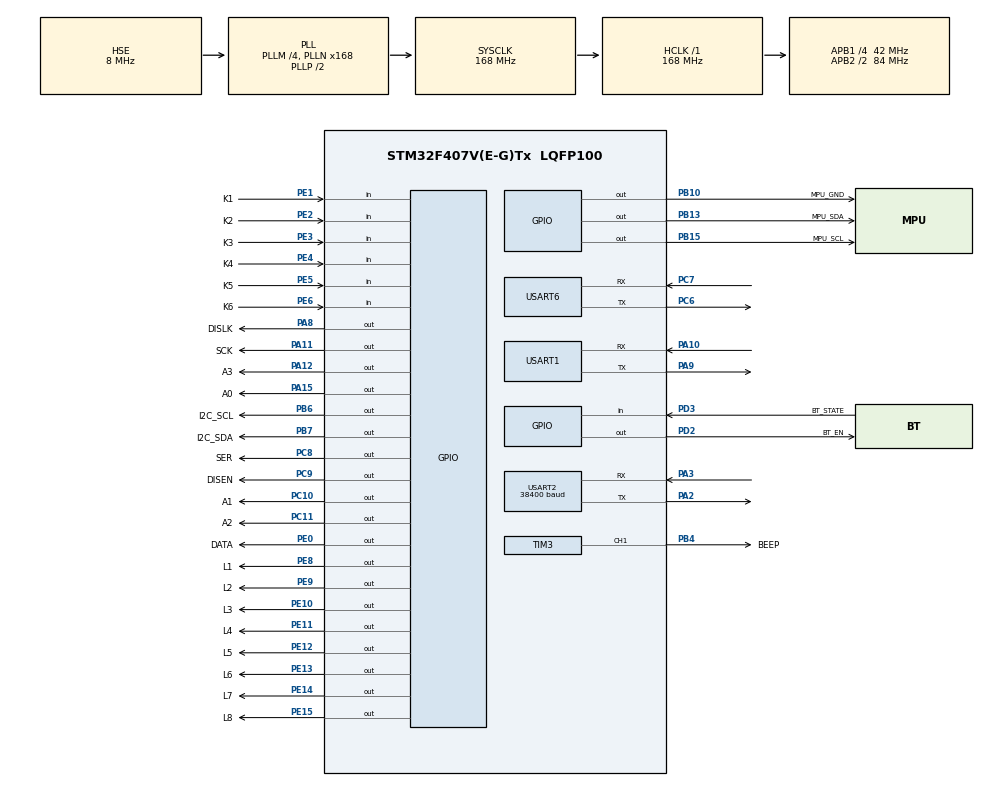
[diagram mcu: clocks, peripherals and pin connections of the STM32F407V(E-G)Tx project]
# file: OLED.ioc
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PE12.GPIO_ModeDefaultOutputPP=GPIO_MODE_OUTPUT_PP
PH0-OSC_IN.Signal=RCC_OSC_IN
Dma.USART1_RX.2.Instance=DMA2_Stream2
PE11.PinState=GPIO_PIN_SET
PB6.GPIO_Label=I2C_SCL
PB13.Signal=GPIO_Output
Dma.USART6_RX.1.Direction=DMA_PERIPH_TO_MEMORY
PE6.GPIO_Label=K6
RCC.SYSCLKSource=RCC_SYSCLKSOURCE_PLLCLK
Dma.USART2_RX.0.PeriphDataAlignment=DMA_PDATAALIGN_BYTE
RCC.APB2TimFreq_Value=168000000
PB6.Signal=GPIO_Output
PC7.Signal=USART6_RX
PB15.GPIO_ModeDefaultOutputPP=GPIO_MODE_OUTPUT_OD
Dma.USART6_RX.1.MemDataAlignment=DMA_MDATAALIGN_BYTE
PE5.Signal=GPIO_Input
PE1.Signal=GPIO_Input
PE9.Signal=GPIO_Output
PE4.GPIO_Label=K4
PE2.Signal=GPIO_Input
PA8.Signal=GPIO_Output
PE10.Signal=GPIO_Output
Mcu.Package=LQFP100
PE2.GPIO_Mode=GPIO_MODE_INPUT
NVIC.TimeBase=TIM7_IRQn
PB6.GPIO_ModeDefaultOutputPP=GPIO_MODE_OUTPUT_OD
NVIC.TimeBaseIP=TIM7
PA10.Signal=USART1_RX
PE12.GPIO_Label=L5
RCC.APB2CLKDivider=RCC_HCLK_DIV2
NVIC.DMA2_Stream2_IRQn=true\:5\:0\:false\:false\:true\:true\:false\:true
RCC.APB1TimFreq_Value=84000000
Dma.USART6_RX.1.FIFOMode=DMA_FIFOMODE_DISABLE
NVIC.USART1_IRQn=true\:5\:0\:false\:false\:true\:true\:true\:true
PE10.GPIO_Label=L3
PE6.GPIO_PuPd=GPIO_PULLDOWN
FREERTOS.Tasks01=MainTask,24,512,StartMainTask,Default,NULL,Dynamic,NULL,NULL;KeyTask,24,512,StartKeyTask,Default,NULL,Dynamic,NULL,NULL;UartTask,24,1024,StartUartTask,Default,NULL,Dynamic,NULL,NULL;GUITask,24,1024,StartGUITask,Default,NULL,Dynamic,NULL,NULL;GetDataTask,24,256,StartGetDataTask,Default,NULL,Dynamic,NULL,NULL
PD3.Signal=GPIO_Input
PC6.Signal=USART6_TX
Dma.USART2_RX.0.Direction=DMA_PERIPH_TO_MEMORY
PA11.GPIO_Label=SCK
PE1.GPIO_PuPd=GPIO_PULLUP
NVIC.DMA2_Stream1_IRQn=true\:5\:0\:false\:false\:true\:true\:false\:true
Dma.USART6_RX.1.PeriphInc=DMA_PINC_DISABLE
RCC.APB1CLKDivider=RCC_HCLK_DIV4
USART2.BaudRate=38400
PA3.Mode=Asynchronous
PA8.GPIO_Label=DISLK
TIM3.Pulse-PWM\ Generation1\ CH1=500 
Dma.USART1_RX.2.Mode=DMA_NORMAL
PC6.Mode=Asynchronous
PE8.GPIO_Label=L1
PA9.Signal=USART1_TX
PE9.GPIO_Label=L2
PB10.Signal=GPIO_Output
PE2.GPIO_PuPd=GPIO_PULLUP
Dma.USART6_RX.1.Priority=DMA_PRIORITY_LOW
PE1.GPIO_Label=K1
Dma.USART1_RX.2.Priority=DMA_PRIORITY_LOW
PE14.Signal=GPIO_Output
Dma.USART1_RX.2.Direction=DMA_PERIPH_TO_MEMORY
PB13.PinState=GPIO_PIN_RESET
PE15.Signal=GPIO_Output
PB4.GPIO_Label=BEEP
PB15.GPIO_Label=MPU_SCL
PE8.Signal=GPIO_Output
PE3.GPIO_PuPd=GPIO_PULLUP
PA13.Mode=Serial_Wire
Dma.USART2_RX.0.MemInc=DMA_MINC_ENABLE
Dma.USART1_RX.2.MemInc=DMA_MINC_ENABLE
PE4.GPIO_PuPd=GPIO_PULLUP
PE13.GPIO_Label=L6
PE11.GPIO_ModeDefaultOutputPP=GPIO_MODE_OUTPUT_PP
PE5.GPIO_Label=K5
USART1.VirtualMode=VM_ASYNC
PA11.Signal=GPIO_Output
ProjectManager.HeapSize=0x200
NVIC.PriorityGroup=NVIC_PRIORITYGROUP_4
PE3.Signal=GPIO_Input
PD2.Signal=GPIO_Output
PD2.GPIO_Label=BT_EN
PE15.GPIO_ModeDefaultOutputPP=GPIO_MODE_OUTPUT_PP
Mcu.Family=STM32F4
PE8.PinState=GPIO_PIN_SET
RCC.CortexFreq_Value=168000000
PE11.GPIO_Label=L4
PC10.Signal=GPIO_Output
PB13.GPIO_Label=MPU_SDA
PB15.Signal=GPIO_Output
PB15.PinState=GPIO_PIN_RESET
ProjectManager.StackSize=0x400
VP_FREERTOS_VS_CMSIS_V2.Mode=CMSIS_V2
PA15.GPIO_Label=A0
PA12.Signal=GPIO_Output
PE5.GPIO_PuPd=GPIO_PULLDOWN
Dma.USART2_RX.0.Priority=DMA_PRIORITY_LOW
PE1.GPIO_Mode=GPIO_MODE_INPUT
Dma.USART6_RX.1.MemInc=DMA_MINC_ENABLE
Dma.USART6_RX.1.PeriphDataAlignment=DMA_PDATAALIGN_BYTE
RCC.HCLKFreq_Value=168000000
TIM3.Period=1000-1
PB13.GPIO_ModeDefaultOutputPP=GPIO_MODE_OUTPUT_OD
Dma.USART6_RX.1.Mode=DMA_NORMAL
PE14.PinState=GPIO_PIN_SET
RCC.AHBFreq_Value=168000000
PH0-OSC_IN.Mode=HSE-External-Oscillator
TIM3.Channel-PWM\ Generation1\ CH1=TIM_CHANNEL_1
RCC.HSE_VALUE=8000000
PE13.PinState=GPIO_PIN_SET
PE13.Signal=GPIO_Output
Dma.USART2_RX.0.MemDataAlignment=DMA_MDATAALIGN_BYTE
PA14.Mode=Serial_Wire
TIM3.Prescaler=84-1
PC11.GPIO_Label=A2
Dma.USART2_RX.0.Instance=DMA1_Stream5
PE10.GPIO_ModeDefaultOutputPP=GPIO_MODE_OUTPUT_PP
PB7.Signal=GPIO_Output
SH.S_TIM3_CH1.0=TIM3_CH1,PWM Generation1 CH1
PE4.Signal=GPIO_Input
FREERTOS.configTOTAL_HEAP_SIZE=30000
PB7.GPIO_Label=I2C_SDA
PH1-OSC_OUT.Mode=HSE-External-Oscillator
Dma.USART2_RX.0.PeriphInc=DMA_PINC_DISABLE
USART2.VirtualMode=VM_ASYNC
USART6.VirtualMode=VM_ASYNC
Dma.USART2_RX.0.FIFOMode=DMA_FIFOMODE_DISABLE
PA15.Signal=GPIO_Output
PE0.GPIO_Label=DATA
PE3.GPIO_Mode=GPIO_MODE_INPUT
Dma.Request2=USART1_RX
Dma.Request1=USART6_RX
PE8.GPIO_ModeDefaultOutputPP=GPIO_MODE_OUTPUT_PP
PD3.GPIO_Label=BT_STATE
Dma.Request0=USART2_RX
PE9.PinState=GPIO_PIN_SET
PE2.GPIO_Label=K2
NVIC.TIM7_IRQn=true\:0\:0\:false\:false\:true\:false\:false\:true
VP_TIM3_VS_ClockSourceINT.Mode=Internal
Dma.USART1_RX.2.MemDataAlignment=DMA_MDATAALIGN_BYTE
PB4.Signal=S_TIM3_CH1
PA3.Signal=USART2_RX
PE14.GPIO_ModeDefaultOutputPP=GPIO_MODE_OUTPUT_PP
Dma.USART6_RX.1.Instance=DMA2_Stream1
PE10.PinState=GPIO_PIN_SET
RCC.PLLSourceVirtual=RCC_PLLSOURCE_HSE
PC10.GPIO_Label=A1
PA10.Mode=Asynchronous
PE6.GPIO_Mode=GPIO_MODE_INPUT
PC9.GPIO_Label=DISEN
PC11.Signal=GPIO_Output
VP_SYS_VS_tim7.Mode=TIM7
PC8.Signal=GPIO_Output
PE5.GPIO_Mode=GPIO_MODE_INPUT
PE14.GPIO_Label=L7
NVIC.USART2_IRQn=true\:5\:0\:false\:false\:true\:true\:true\:true
Dma.USART1_RX.2.PeriphInc=DMA_PINC_DISABLE
PA12.GPIO_Label=A3
Dma.USART2_RX.0.Mode=DMA_NORMAL
NVIC.USART6_IRQn=true\:5\:0\:false\:false\:true\:true\:true\:true
PC8.GPIO_Label=SER
PA13.Signal=SYS_JTMS-SWDIO
PE4.GPIO_Mode=GPIO_MODE_INPUT
PA9.Mode=Asynchronous
PE15.GPIO_Label=L8
ProjectManager.TargetToolchain=STM32CubeIDE
PB10.GPIO_Label=MPU_GND
NVIC.DMA1_Stream5_IRQn=true\:5\:0\:false\:false\:true\:true\:false\:true
Dma.USART1_RX.2.PeriphDataAlignment=DMA_PDATAALIGN_BYTE
PE11.Signal=GPIO_Output
RCC.LSE_VALUE=32768
board=custom
Dma.USART1_RX.2.FIFOMode=DMA_FIFOMODE_DISABLE
RCC.VCOOutputFreq_Value=336000000
RCC.APB2Freq_Value=84000000
PB7.GPIO_ModeDefaultOutputPP=GPIO_MODE_OUTPUT_OD
PH1-OSC_OUT.Signal=RCC_OSC_OUT
PE6.Signal=GPIO_Input
PE0.Signal=GPIO_Output
Mcu.Name=STM32F407V(E-G)Tx
PE12.Signal=GPIO_Output
PA2.Signal=USART2_TX
PE12.PinState=GPIO_PIN_SET
RCC.48MHZClocksFreq_Value=84000000
RCC.SYSCLKFreq_VALUE=168000000
PE13.GPIO_ModeDefaultOutputPP=GPIO_MODE_OUTPUT_PP
PA14.Signal=SYS_JTCK-SWCLK
RCC.HSI_VALUE=16000000
RCC.PLLM=4
RCC.PLLN=168
PA2.Mode=Asynchronous
PE3.GPIO_Label=K3
PE9.GPIO_ModeDefaultOutputPP=GPIO_MODE_OUTPUT_PP
PC9.Signal=GPIO_Output
PC7.Mode=Asynchronous
RCC.APB1Freq_Value=42000000
PE15.PinState=GPIO_PIN_SET

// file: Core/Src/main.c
/* USER CODE BEGIN Header */
/**
  ******************************************************************************
  * @file           : main.c
  * @brief          : Main program body
  ******************************************************************************
  * @attention
  *
  * <h2><center>&copy; Copyright (c) 2021 STMicroelectronics.
  * All rights reserved.</center></h2>
  *
  * This software component is licensed by ST under BSD 3-Clause license,
  * the "License"; You may not use this file except in compliance with the
  * License. You may obtain a copy of the License at:
  *                        opensource.org/licenses/BSD-3-Clause
  *
  ******************************************************************************
  */
/* USER CODE END Header */

#include "main.h"
#include "cmsis_os.h"
#include "dma.h"
#include "tim.h"
#include "usart.h"
#include "gpio.h"

void SystemClock_Config(void);
void MX_FREERTOS_Init(void);

int main(void)
{

  /* MCU Configuration--------------------------------------------------------*/

  /* Reset of all peripherals, Initializes the Flash interface and the Systick. */
  HAL_Init();

  /* Configure the system clock */
  SystemClock_Config();

  /* Initialize all configured peripherals */
  MX_GPIO_Init();
  MX_DMA_Init();
  MX_USART1_UART_Init();
  MX_TIM3_Init();
  MX_USART2_UART_Init();
  MX_USART6_UART_Init();

  /* Init scheduler */
  osKernelInitialize();  /* Call init function for freertos objects (in freertos.c) */
  MX_FREERTOS_Init();
  /* Start scheduler */
  osKernelStart();

  /* We should never get here as control is now taken by the scheduler */
  /* Infinite loop */
  while (1)
  {

  }
}

void SystemClock_Config(void)
{
  RCC_OscInitTypeDef RCC_OscInitStruct = {0};
  RCC_ClkInitTypeDef RCC_ClkInitStruct = {0};

  /** Configure the main internal regulator output voltage
  */
  __HAL_RCC_PWR_CLK_ENABLE();
  __HAL_PWR_VOLTAGESCALING_CONFIG(PWR_REGULATOR_VOLTAGE_SCALE1);
  /** Initializes the CPU, AHB and APB busses clocks
  */
  RCC_OscInitStruct.OscillatorType = RCC_OSCILLATORTYPE_HSE;
  RCC_OscInitStruct.HSEState = RCC_HSE_ON;
  RCC_OscInitStruct.PLL.PLLState = RCC_PLL_ON;
  RCC_OscInitStruct.PLL.PLLSource = RCC_PLLSOURCE_HSE;
  RCC_OscInitStruct.PLL.PLLM = 4;
  RCC_OscInitStruct.PLL.PLLN = 168;
  RCC_OscInitStruct.PLL.PLLP = RCC_PLLP_DIV2;
  RCC_OscInitStruct.PLL.PLLQ = 4;
  if (HAL_RCC_OscConfig(&RCC_OscInitStruct) != HAL_OK)
  {
    Error_Handler();
  }
  /** Initializes the CPU, AHB and APB busses clocks
  */
  RCC_ClkInitStruct.ClockType = RCC_CLOCKTYPE_HCLK|RCC_CLOCKTYPE_SYSCLK
                              |RCC_CLOCKTYPE_PCLK1|RCC_CLOCKTYPE_PCLK2;
  RCC_ClkInitStruct.SYSCLKSource = RCC_SYSCLKSOURCE_PLLCLK;
  RCC_ClkInitStruct.AHBCLKDivider = RCC_SYSCLK_DIV1;
  RCC_ClkInitStruct.APB1CLKDivider = RCC_HCLK_DIV4;
  RCC_ClkInitStruct.APB2CLKDivider = RCC_HCLK_DIV2;

  if (HAL_RCC_ClockConfig(&RCC_ClkInitStruct, FLASH_LATENCY_5) != HAL_OK)
  {
    Error_Handler();
  }
}

 /**
  * @brief  Period elapsed callback in non blocking mode
  * @note   This function is called  when TIM7 interrupt took place, inside
  * HAL_TIM_IRQHandler(). It makes a direct call to HAL_IncTick() to increment
  * a global variable "uwTick" used as application time base.
  * @param  htim : TIM handle
  * @retval None
  */
void HAL_TIM_PeriodElapsedCallback(TIM_HandleTypeDef *htim)
{
  if (htim->Instance == TIM7) {
    HAL_IncTick();
  }
}

void Error_Handler(void)
{
}

/************************ (C) COPYRIGHT STMicroelectronics *****END OF FILE****/

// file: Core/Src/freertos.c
/* USER CODE BEGIN Header */
/**
  ******************************************************************************
  * File Name          : freertos.c
  * Description        : Code for freertos applications
  ******************************************************************************
  * @attention
  *
  * <h2><center>&copy; Copyright (c) 2021 STMicroelectronics.
  * All rights reserved.</center></h2>
  *
  * This software component is licensed by ST under Ultimate Liberty license
  * SLA0044, the "License"; You may not use this file except in compliance with
  * the License. You may obtain a copy of the License at:
  *                             www.st.com/SLA0044
  *
  ******************************************************************************
  */
/* USER CODE END Header */

#pragma clang diagnostic push
#pragma ide diagnostic ignored "EndlessLoop"
#include "FreeRTOS.h"
#include "task.h"
#include "main.h"
#include "cmsis_os.h"

/* USER CODE BEGIN Includes */
#include "gpio.h"
#include "GUI.h"
#include <stdio.h>
#include "tim.h"
#include "DS_18B20.h"
#include "MPU6050.h"
#include <string.h>
#include <math.h>
#include "Display_3D.h"
#include "comm.h"
#include "HC05.h"
#include "stdlib.h"
/* USER CODE END Includes */

/* USER CODE BEGIN PD */
extern GUI_FLASH const GUI_FONT GUI_FontHZ_KaiTi_20;
extern GUI_FLASH const GUI_FONT GUI_FontHZ_SimSun_16;
extern GUI_CONST_STORAGE GUI_BITMAP bmzyx3;
extern GUI_CONST_STORAGE GUI_BITMAP bmaoyi1;
extern GUI_FLASH const GUI_FONT GUI_FontHZ_SimSun_10;
extern GUI_FLASH const GUI_FONT GUI_FontHZ_SimSun_12;
unsigned char TAB_zheng[128] = {    /* 郑 0xd6a3*/
        ________, ________, ________, ________,
        ________, ________, ________, ________,
        _____X__, ______X_, ________, ________,
        _____XX_, _____XXX, ________, ________,
        ______XX, _____XX_, ____X___, ___XX___,
        ______XX, X____XX_, ____XXXX, XXXXXX__,
        _______X, X___XX__, ____XX__, ___XXX__,
        _______X, X___XX__, ____XX__, __XXX___,
        ________, ____X__X, XX__XX__, __XX____,
        ___XXXXX, XXXXXXXX, XX__XX__, __XX____,
        ________, _XXX____, ____XX__, _XX_____,
        ________, _XXX____, ____XX__, _XX_____,
        ________, _XXX____, ____XX__, _X______,
        ________, _XXX____, ____XX__, XX______,
        ________, _XXX____, ____XX__, X_______,
        ________, _XXX____, XX__XX__, _X______,
        __XXXXXX, XXXXXXXX, XXXXXX__, _XX_____,
        ________, _XX_____, ____XX__, __XX____,
        ________, _XX_____, ____XX__, ___XX___,
        ________, _XX_____, ____XX__, ___XX___,
        ________, _XX_____, ____XX__, ___XX___,
        ________, XXXXX___, ____XX__, ___XX___,
        ________, XX__XXX_, ____XX__, ___XX___,
        _______X, XX___XXX, X___XX__, __XXX___,
        _______X, X_____XX, X___XX_X, XXXXX___,
        ______XX, _______X, XX__XX__, _XXX____,
        _____XX_, _______X, XX__XX__, _XX_____,
        ____XX__, ________, X___XX__, ________,
        ___XX___, ________, ____XX__, ________,
        __XX____, ________, ____XX__, ________,
        ________, ________, ____X___, ________,
        ________, ________, ________, ________
};
/* USER CODE END PD */

/* USER CODE BEGIN Variables */
#define WS_LOGO 0
#define WS_GUI1 1
#define WS_GUI2 2
#define WS_GUI3 3
#define WS_GUI4 4
#define WS_START 5
int g_ws = WS_LOGO;
uint32_t intick = 0;
uint32_t beeptick = 0;

volatile float temp = 0; //温度
float tempLmt = 31.0f; //温度上限

//报警标志位
uint8_t tempwarn = 0;
uint8_t mpuwarn = 0;
uint32_t warntick = 0;

uint8_t num[4] = {0}; //数码管显示
int T_integer = 0;
int T_decimal = 0;
uint8_t page_index = 1; //翻页控制

uint8_t g_bUping = 0;
uint16_t g_upstep = 100; //上传时间

uint8_t g_mpustep = 1; //震动检测灵敏度
uint8_t g_warntime = 30; //报警时长
uint8_t g_funcidx = 0; //参数设置功能索引

uint32_t HC05_RevLen = 0;  //接受数据长度
uint32_t HC05_SendLen = 0;  //发送数据长度

#define MAX_DATALEN 80

float vTemp[MAX_DATALEN];
int cTemp = 0;
float vPitch[MAX_DATALEN];
int cPitch = 0;
float vRoll[MAX_DATALEN];
int cRoll = 0;
float vYaw[MAX_DATALEN];
int cYaw = 0;
int mpu_interval = 50;

struct SplitFloat {
    int integer;
    int decimal;
};

/* USER CODE END Variables */
/* Definitions for MainTask */
osThreadId_t MainTaskHandle;
const osThreadAttr_t MainTask_attributes = {
        .name = "MainTask",
        .priority = (osPriority_t) osPriorityAboveNormal,
        .stack_size = 1024 * 4
};
/* Definitions for KeyTask */
osThreadId_t KeyTaskHandle;
const osThreadAttr_t KeyTask_attributes = {
        .name = "KeyTask",
        .priority = (osPriority_t) osPriorityNormal,
        .stack_size = 512 * 4
};
/* Definitions for UartTask */
osThreadId_t UartTaskHandle;
const osThreadAttr_t UartTask_attributes = {
        .name = "UartTask",
        .priority = (osPriority_t) osPriorityNormal,
        .stack_size = 1024 * 4
};
/* Definitions for GUITask */
osThreadId_t GUITaskHandle;
const osThreadAttr_t GUITask_attributes = {
        .name = "GUITask",
        .priority = (osPriority_t) osPriorityNormal,
        .stack_size = 1024 * 4
};
/* Definitions for GetDataTask */
osThreadId_t GetDataTaskHandle;
const osThreadAttr_t GetDataTask_attributes = {
        .name = "GetDataTask",
        .priority = (osPriority_t) osPriorityNormal,
        .stack_size = 256 * 4
};

/* USER CODE BEGIN FunctionPrototypes */
void WSLogo(void);

void DrawLogo(void);

void DrawGUI1(void);

void DrawGUI2(void);

void DrawGUI3(void);

void DrawGUI4(void);

void Beep(int time, int tune);

void DispSeg(uint8_t num[4], uint8_t dot);

void BeepDone(void);

struct SplitFloat split_float(float data);

void Init_HC05(void);

/* USER CODE END FunctionPrototypes */

void StartMainTask(void *argument);

void StartKeyTask(void *argument);

void StartUartTask(void *argument);

void StartGUITask(void *argument);

void StartGetDataTask(void *argument);

void MX_FREERTOS_Init(void); /* (MISRA C 2004 rule 8.1) */

void MX_FREERTOS_Init(void) {

    /* Create the thread(s) */
    /* creation of MainTask */
    MainTaskHandle = osThreadNew(StartMainTask, NULL, &MainTask_attributes);

    /* creation of KeyTask */
    KeyTaskHandle = osThreadNew(StartKeyTask, NULL, &KeyTask_attributes);

    /* creation of UartTask */
    UartTaskHandle = osThreadNew(StartUartTask, NULL, &UartTask_attributes);

    /* creation of GUITask */
    GUITaskHandle = osThreadNew(StartGUITask, NULL, &GUITask_attributes);

    /* creation of GetDataTask */
    GetDataTaskHandle = osThreadNew(StartGetDataTask, NULL, &GetDataTask_attributes);

}

void StartMainTask(void *argument) {
    /* USER CODE BEGIN StartMainTask */
    static int mpuWarn_cnt = 0; //警告计数
    HAL_Delay(1000);
    ds18b20_init();
    uint8_t mpuok = MPU_init();
    uint8_t idx = 0;
    uint8_t cnt = 0;
    while (cnt++ < 3 && !mpuok) {
        HAL_Delay(500);
        mpuok = MPU_init();
    }
    uint32_t dstick = 0;
    uint32_t mputick = 0;
    uint32_t uptick = 0;
    /* Infinite loop */
#pragma clang diagnostic push
#pragma ide diagnostic ignored "EndlessLoop"
    for (;;) {
        //温度数据获取
        if (osKernelGetTickCount() >= dstick + mpu_interval) {
            dstick = osKernelGetTickCount();
            float ft = ds18b20_read();
            T_integer = (int) ft;
            T_decimal = (int) ((ft - T_integer) * 100);
            if (ft < 125) {
//                printf("temp:%d.%d", T_integer, T_decimal);
                temp = ft;
                //温度数据保存
                if (cTemp < MAX_DATALEN)
                    vTemp[cTemp++] = temp;
                else {
                    memcpy((void *) vTemp, (void *) (vTemp + 1), sizeof(vTemp[0]) * (MAX_DATALEN - 1));
                    vTemp[MAX_DATALEN - 1] = temp;
                }
                if (temp >= tempLmt) {
                    tempwarn = 1;
                }
            }
        }
        //mpu数据获取
        if (mpuok) {
            if (osKernelGetTickCount() >= mputick + mpu_interval) {
                mputick = osKernelGetTickCount();
                MPU_getdata();
                /*--------------------------温度、姿态数据保存--------------------------*/
                if (cPitch < MAX_DATALEN)
                    vPitch[cPitch++] = fAX;
                else {
                    memcpy((void *) vPitch, (void *) (vPitch + 1), sizeof(vPitch[0]) * (MAX_DATALEN - 1));
                    vPitch[MAX_DATALEN - 1] = fAX;
                }
                if (cRoll < MAX_DATALEN)
                    vRoll[cRoll++] = fAX;
                else {
                    memcpy((void *) vRoll, (void *) (vRoll + 1), sizeof(vRoll[0]) * (MAX_DATALEN - 1));
                    vRoll[MAX_DATALEN - 1] = fAY;
                }
                if (cYaw < MAX_DATALEN)
                    vYaw[cYaw++] = fAX;
                else {
                    memcpy((void *) vYaw, (void *) (vYaw + 1), sizeof(vYaw[0]) * (MAX_DATALEN - 1));
                    vYaw[MAX_DATALEN - 1] = fAZ;
                }
                /*--------------------------震动检测--------------------------*/
                if (g_mpustep > 0 && (gx * gx + gy * gy + gz * gz > 10000 * (10 - g_mpustep))) {  //3000
                    mpuWarn_cnt++;
                    if (mpuWarn_cnt > 5) {
                        mpuwarn = 1;
                        mpuWarn_cnt = 0;
                    }
                } else
                    mpuWarn_cnt = 0;
            }
        }
        //报警时30s倒计时
        if ((tempwarn || mpuwarn) && g_warntime > 0) {
            if (0 == warntick)
                warntick = osKernelGetTickCount();
            else if (osKernelGetTickCount() >= warntick + 1000 * g_warntime) {  //30000数值需修改
                tempwarn = mpuwarn = 0;
                warntick = 0;
            } else {
                uint32_t tick = warntick + 1000 * g_warntime - osKernelGetTickCount();
                num[0] = (tick / 10000) % 10;
                num[1] = (tick / 1000) % 10;
                num[2] = (tick / 100) % 10;
                num[3] = (tick / 10) % 10;
            }
            if ((num[2] == 1 || num[2] == 3 || num[2] == 5) && tempwarn) {
                Beep(100, 3);
            } else if ((num[2] == 2 || num[2] == 4) && mpuwarn) {
                Beep(200, 1);
            }
        } else {
            num[0] = num[1] = num[2] = num[3] = ' ';
        }
        if (HC05_IsConn() && g_bUping) {
            if (osKernelGetTickCount() >= uptick + g_upstep) {
                uptick = osKernelGetTickCount();
                char buf[100];
                sprintf(buf, "T:%3d.%d,A:%6d %6d %6d,G:%6d %6d %6d,Z:%4d.%d %4d.%d %4d.%d,S:%3d %3d %3d %3d,W:%d\n",
                        split_float(temp).integer, split_float(temp).decimal, ax, ay, az, gx, gy, gz,
                        split_float(fAX).integer, split_float(fAX).decimal, split_float(fAY).integer,
                        split_float(fAY).decimal,
                        split_float(fAZ).integer, split_float(fAZ).decimal, (int)tempLmt,g_mpustep,g_warntime,g_upstep,
                        (tempwarn ? 1 : 0) + (mpuwarn ? 2 : 0));
                HC05_SendLen += strlen(buf);
                USendStr(&huart2, (uint8_t *) buf, strlen(buf));
            }
        }
        osDelay(1);
    }
#pragma clang diagnostic pop
    /* USER CODE END StartMainTask */
}

/* USER CODE BEGIN Header_StartKeyTask */
/**
* @brief 按键任务，切换GUI显示
* @param argument: Not used
* @retval None
*/
/* USER CODE END Header_StartKeyTask */
void StartKeyTask(void *argument) {
    /* USER CODE BEGIN StartKeyTask */
    uint32_t keytick = 0;
    /* Infinite loop */
#pragma clang diagnostic push
#pragma ide diagnostic ignored "EndlessLoop"
    for (;;) {
        if (mpuwarn == 0 && tempwarn == 0) {
            //20ms扫描
            if (osKernelGetTickCount() >= keytick + 20) {
                keytick = osKernelGetTickCount();
                uint8_t key = ScanKey();
                if (KEY6 == key && g_ws != WS_GUI3)
                    g_ws = WS_START;//返回启动界面
                switch (g_ws) {
                    case WS_LOGO:
                        if (KEY5 == key) {
                            g_ws = WS_GUI1;
                            intick = 0;
                        }
                        break;
                    case WS_GUI1:
                        if (KEY1 == key)
                            g_ws = WS_GUI4;
                        else if (KEY4 == key)
                            g_ws = WS_GUI2;
                        else if (KEY2 == key)  //左翻页
                            page_index = (page_index == 1) ? 3 : (page_index - 1);
                        else if (KEY3 == key)  //右翻页
                            page_index = (page_index == 3) ? 1 : (page_index + 1);
                        break;
                    case WS_GUI2:
                        if (KEY1 == key)
                            g_ws = WS_GUI1;
                        else if (KEY4 == key) {
                            g_ws = WS_GUI3;
                            Init_HC05();
                        } else if (KEY2 == key)  //左翻页
                            page_index = (page_index == 1) ? 5 : (page_index - 1);
                        else if (KEY3 == key)  //右翻页
                            page_index = (page_index == 5) ? 1 : (page_index + 1);
                        else if (KEY5 == key)  //控制采集数据时间间隔
                            mpu_interval = (mpu_interval == 50) ? 1000 : 50;
                        break;
                    case WS_GUI3:
                        if (KEY1 == key)
                            g_ws = WS_GUI2;
                        else if (KEY4 == key)
                            g_ws = WS_GUI4;
                        else if (KEY2 == key)
                            g_bUping = 1;
                        else if (KEY3 == key)
                            g_bUping = 0;
                        else if (KEY5 == key && 1 == page_index) {
                            if (1 == page_index) {
                                Init_HC05();
                            }
                        } else if (KEY6 == key) {
                            page_index = (page_index == 1) ? 2 : 1;
                        } else if (KEY5 == key && 2 == page_index) {
                            HC05_RevLen = HC05_SendLen = 0;
                        }
                        break;
                    case WS_GUI4:
                        if (KEY1 == key) {
                            g_ws = WS_GUI3;
                            Init_HC05();
                        } else if (KEY4 == key)
                            g_ws = WS_GUI1;
                        else if (KEY5 == key) {
                            ++g_funcidx;
                            g_funcidx %= 4;
                        } else if (KEY2 == key) {
                            if (0 == g_funcidx) {
                                if (tempLmt > 0)
                                    tempLmt -= 1;
                            }
                            if (1 == g_funcidx) {
                                if (g_mpustep > 0)
                                    --g_mpustep;
                            }
                            if (2 == g_funcidx) {
                                if (g_warntime > 0)
                                    --g_warntime;
                            }
                            if (3 == g_funcidx) {
                                if (g_upstep > 100)
                                    g_upstep -= 100;
                            }
                        } else if (KEY3 == key) {
                            if (0 == g_funcidx) {
                                if (tempLmt < 90)
                                    tempLmt += 1;
                            }
                            if (1 == g_funcidx) {
                                if (g_mpustep < 9)
                                    ++g_mpustep;
                            }
                            if (2 == g_funcidx) {
                                if (g_warntime < 60)
                                    ++g_warntime;
                            }
                            if (3 == g_funcidx) {
                                if (g_upstep < 10000)
                                    g_upstep += 100;
                            }
                        }
                        break;
                    case WS_START:
                        g_ws = WS_LOGO;
                        break;
                    default:
                        break;
                }
            }
        }
        if (mpuwarn || tempwarn) {
            if(Stop_Warn())  //停止报警
            {
                if(tempwarn)  //如果是温度报警，重新设定温度上限
                {
                    tempLmt = 35;
                }
                mpuwarn = tempwarn = 0;
                for (int i = 0; i < 4; i++)
                    num[i] = ' ';
                warntick = 0;
            }
            DispSeg(num, 2);
        }
        osDelay(1);
    }
#pragma clang diagnostic pop
    /* USER CODE END StartKeyTask */
}

void StartUartTask(void *argument) {
    /* USER CODE BEGIN StartUartTask */
    StartRecvUart1();
    HC05_Init();
    /* Infinite loop */
#pragma clang diagnostic push
#pragma ide diagnostic ignored "EndlessLoop"
    for (;;) {
        if (recv1_len > 0) {
            printf("%s", recv1_buff);
            recv1_len = 0;
        }
        HC05_Proc();
        if (hc05.recv_len > 0) {
            printf("%s", hc05.recv_data);
            char *pb = (char *) (hc05.recv_data);
            char buf[40];
            if (hc05.bat == 0)  //不在AT模式下
            {
                if ('P' == pb[0] && '1' == pb[1] && ':' == pb[2]) {
                    //参数设设置
                    tempLmt = atof(pb + 3);
                    pb = strstr(pb, "P2:");
                    if (pb) {
                        g_mpustep = atoi(pb + 3);
                        pb = strstr(pb, "P3:");
                        if (pb) {
                            g_warntime = atoi(pb + 3);
                            pb = strstr(pb, "P4:");
                            if (pb) {
                                g_upstep = atoi(pb + 3);
                                USendStr(&huart2, (uint8_t *) ("OK\n"), 3);
                            }
                        }

                    }
                } else if ('S' == pb[0] && 't' == pb[1] && 'a' == pb[2] && ':' == pb[3]) {
                    g_bUping = atoi(pb + 4);
                    printf("g_bUping:%d",g_bUping);
                }
                if (hc05.recv_len != 4)
                    HC05_RevLen += hc05.recv_len - 1;
//                    printf("byte:%lu,%s", hc05.recv_len - 1, hc05.recv_data);
            }
            hc05.recv_len = 0;
        }
        osDelay(1);
    }
#pragma clang diagnostic pop
    /* USER CODE END StartUartTask */
}

/* USER CODE BEGIN Header_StartGUITask */
/**
* @brief GUI任务
* @param argument: Not used
* @retval None
*/
/* USER CODE END Header_StartGUITask */
void StartGUITask(void *argument) {
    /* USER CODE BEGIN StartGUITask */
    GUI_Init();
    /* Infinite loop */
#pragma clang diagnostic push
#pragma ide diagnostic ignored "EndlessLoop"
    for (;;) {
        switch (g_ws) {
            case WS_LOGO:
                DrawLogo();
                WSLogo();
                break;
            case WS_GUI1:
                DrawGUI1();
                SetLeds(0);
                break;
            case WS_GUI2:
                DrawGUI2();
                break;
            case WS_GUI3:
                DrawGUI3();
                break;
            case WS_GUI4:
                DrawGUI4();
                break;
            default:
                break;
        }
        BeepDone();
        osDelay(1);

    }
#pragma clang diagnostic pop
    /* USER CODE END StartGUITask */
}

void StartGetDataTask(void *argument) {
    /* USER CODE BEGIN StartGetDataTask */
    static uint32_t led1_tick = 0;
    static uint32_t led2_tick = 0;
    static uint32_t old_send = 0;
    static uint32_t old_rev = 0;
    uint8_t rev_flag = 0;
    uint8_t send_flag = 0;
    int i = 0;
    int j = 0;
    static uint8_t leds_sta = 0x00;
    /* Infinite loop */
#pragma clang diagnostic push
#pragma ide diagnostic ignored "EndlessLoop"
    for (;;) {
        if (HC05_RevLen > old_rev) {
            rev_flag = 1;
        }
        if (HC05_SendLen > old_send) {
            send_flag = 1;
        }
        if (send_flag) {
            if (osKernelGetTickCount() >= led1_tick + 100) {
                leds_sta ^= 0x80;  //第一位翻转
                led1_tick = osKernelGetTickCount();
                j++;
            }
            if (j >= 2) {
                j = 0;
                send_flag = 0;
            }
        }
        if (rev_flag) {
            if (osKernelGetTickCount() >= led2_tick + 50) {
                leds_sta ^= 0x40;  //第二位翻转
                led2_tick = osKernelGetTickCount();
                i++;
            }
            if (i >= 2) {
                i = 0;
                rev_flag = 0;
            }
        }
        if (g_ws != WS_START && g_ws != WS_LOGO)
            SetLeds(leds_sta);
        if (old_send != HC05_SendLen)
            old_send = HC05_SendLen;
        if (old_rev != HC05_RevLen)
            old_rev = HC05_RevLen;
        osDelay(1);
    }
#pragma clang diagnostic pop
    /* USER CODE END StartGetDataTask */
}

/* USER CODE BEGIN Application */
/*...WSLOGO和DrawLogo函数可合并*/
/**
 * @brief：启动界面
 */
void WSLogo(void) {
    static uint32_t tick = 0;
    static uint8_t leds_sta = 0x00;
    if (0 == intick)
        intick = osKernelGetTickCount();
    else {
        if (osKernelGetTickCount() >= intick + 7000) {
            intick = 0;
            g_ws = WS_GUI1;
            Beep(500, 3);
        }
    }
    SetLeds(leds_sta);
    if (osKernelGetTickCount() >= tick + 500) {
        leds_sta = ~leds_sta;
        tick = osKernelGetTickCount();
    }
}

void DrawLogo(void) {
    if (0 == intick)
        intick = osKernelGetTickCount();
    else {
        if (osKernelGetTickCount() <= intick + 2000) {
            GUI_Clear();
            GUI_SetFont(&GUI_FontHZ_SimSun_16);
            GUI_DispStringHCenterAt("专业实践\n综合设计II\n防火防盗监测器", 64, 6);
            GUI_Update();
        } else if (osKernelGetTickCount() <= intick + 5000) {
            GUI_Clear();
            GUI_SetFont(&GUI_FontHZ_SimSun_16);
            GUI_DispStringAt("成员1：郑雨欣", 0, 0);
            GUI_DispStringAt("18151119", 54, 16);
            GUI_DispStringAt("成员2：敖毅", 0, 32);
            GUI_DispStringAt("18042207", 54, 48);
            GUI_Update();
        } else if (osKernelGetTickCount() <= intick + 7000 && osKernelGetTickCount() > intick + 5000) {
            GUI_Clear();
            GUI_DrawBitmap(&bmzyx3, 0, 0);
            GUI_DrawBitmap(&bmaoyi1, 64, 0);
            GUI_Update();
        } else
            intick = 0;
    }
}

/*----------------------------------主菜单--------------------------------*/
void DrawGUI1(void) {
    char buf[20];
    struct SplitFloat float_data;
    GUI_Clear();
    GUI_SetFont(&GUI_FontHZ_SimSun_12);
    GUI_SetColor(GUI_COLOR_BLACK);
    GUI_DispStringAt("实时监测", 0, 0);
    GUI_SetColor(GUI_COLOR_WHITE);
    GUI_DispStringAt("数据曲线", 0, 13);
    GUI_DispStringAt("无线通信", 0, 26);
    GUI_DispStringAt("参数设置", 0, 39);
    GUI_DispStringAt("K1︽ K2《 K3》 K4︾", 0, 52);
    GUI_DrawHLine(52, 0, 128);
    GUI_DrawVLine(48, 0, 52);
    switch (page_index) {
        case 1:
            GUI_DispStringAt("当前温度:", 50, 0);
            GUI_DispStringAt("震动报警:", 50, 26);
            float_data = split_float(temp);  //温度
            sprintf(buf, "%d.%d℃", float_data.integer, float_data.decimal);
            GUI_DispStringAt(buf, 90, 13);
            GUI_DispStringAt(mpuwarn ? "是" : "否", 90, 39);
            break;
        case 2:
            sprintf(buf, "ax:%6d", ax);
            GUI_DispStringAt(buf, 50, 2);
            sprintf(buf, "ay:%6d", ay);
            GUI_DispStringAt(buf, 50, 20);
            sprintf(buf, "az:%6d", az);
            GUI_DispStringAt(buf, 50, 38);
            break;
        case 3:
            sprintf(buf, "gx:%6d", gx);
            GUI_DispStringAt(buf, 50, 2);
            sprintf(buf, "gy:%6d", gy);
            GUI_DispStringAt(buf, 50, 20);
            sprintf(buf, "gz:%6d", gz);
            GUI_DispStringAt(buf, 50, 38);
            break;
        default:
            break;
    }
    GUI_Update();
}

void DrawGUI2(void) {
    char buf[20];
    static float t_low = 0;
    struct SplitFloat float_data;
    t_low = T_decimal / 10.0;
    int i;
    GUI_Clear();
    GUI_SetFont(&GUI_FontHZ_SimSun_12);
    GUI_DispStringAt("实时监测", 0, 0);
    GUI_SetColor(GUI_COLOR_BLACK);
    GUI_DispStringAt("数据曲线", 0, 13);
    GUI_SetColor(GUI_COLOR_WHITE);
    GUI_DispStringAt("无线通信", 0, 26);
    GUI_DispStringAt("参数设置", 0, 39);
    GUI_DispStringAt("K1︽ K2《 K3》 K4︾", 0, 52);
    GUI_DrawHLine(52, 0, 128);
    GUI_DrawVLine(48, 0, 52);
    int sw = 128 - 48;
    int sh = 64 - 12 - 12;
    int ox = 48;
    int oy = 12 + sh;
    switch (page_index) {
        case 1: {
            float tempMin = 25;
            float tempMax = 35;
            int tt = (((int) (temp) + 2) / 5) * 5;
            tempMin = tt - 5;
            tempMax = tt + 5;
            float dh = sh / (tempMax - tempMin);
            float_data = split_float(temp);  //温度
            sprintf(buf, "温度：%d.%d℃", float_data.integer, float_data.decimal);
            GUI_DispStringAt(buf, 50, 0);
            if (tempLmt >= tempMin && tempLmt <= tempMax) {
                printf("tt:%d\r\n", tt);
                for (i = 0; i < MAX_DATALEN; i += 6) {
                    GUI_DrawHLine(oy - (tempLmt - tempMin) * dh, ox + i, ox + i + 3);
                }
            }
            for (i = 0; i < cTemp && i < MAX_DATALEN; ++i) {
                GUI_DrawLine(ox + i - 1, oy - (vTemp[i - 1] - tempMin) * dh, ox + i, oy - (vTemp[i] - tempMin) * dh);
            }
        }
            break;
        case 2: {
            float tempMin = -90;
            float tempMax = 90;
            float dh = sh / (tempMax - tempMin);
            float_data = split_float(fAX);  //俯仰角
            sprintf(buf, "俯仰角：%d.%d°", float_data.integer, float_data.decimal);
            GUI_DispStringAt(buf, 50, 0);
            for (i = 0; i < MAX_DATALEN; i += 6) {
                GUI_DrawHLine(oy + tempMin * dh, ox + i, ox + sw);
            }
            for (i = 0; i < cPitch && i < MAX_DATALEN; ++i) {
                GUI_DrawLine(ox + i - 1, oy - (vPitch[i - 1] - tempMin) * dh, ox + i, oy - (vPitch[i] - tempMin) * dh);
            }
        }
            break;
        case 3: {
            float tempMin = -90;
            float tempMax = 90;
            float dh = sh / (tempMax - tempMin);
            float_data = split_float(fAY);  //横滚角
            sprintf(buf, "横滚角：%d.%d°", float_data.integer, float_data.decimal);
            GUI_DispStringAt(buf, 50, 0);
            for (i = 0; i < MAX_DATALEN; i += 6) {
                GUI_DrawHLine(oy + tempMin * dh, ox + i, ox + sw);
            }
            for (i = 0; i < cRoll && i < MAX_DATALEN; ++i) {
                GUI_DrawLine(ox + i - 1, oy - (vRoll[i - 1] - tempMin) * dh, ox + i, oy - (vRoll[i] - tempMin) * dh);
            }
        }
            break;
        case 4: {
            float tempMin = -180;
            float tempMax = 180;
            float dh = sh / (tempMax - tempMin);
            float_data = split_float(fAZ);  //航向角
            sprintf(buf, "航向角：%d.%d°", float_data.integer, float_data.decimal);
            GUI_DispStringAt(buf, 50, 0);
            for (i = 0; i < MAX_DATALEN; i += 6) {
                GUI_DrawHLine(oy + tempMin * dh, ox + i, ox + sw);
            }
            for (i = 0; i < cYaw && i < MAX_DATALEN; ++i) {
                GUI_DrawLine(ox + i - 1, oy - (vYaw[i - 1] - tempMin) * dh, ox + i, oy - (vYaw[i] - tempMin) * dh);
            }
        }
            break;
        case 5: {
            ox = (48 + 128) / 2;
            oy = (12 + 40) / 2 + 2;
            RateCube(fAX, fAY, fAZ, GUI_COLOR_WHITE, ox, oy);
            RotatePic32X32(TAB_zheng, fAX, fAY, fAZ, GUI_COLOR_WHITE, ox - 16, oy - 16, 16);
        }
            break;
        default:
            break;
    }
    GUI_Update();
}

void DrawGUI3(void) {
    char buf[20];
    GUI_Clear();
    GUI_SetFont(&GUI_FontHZ_SimSun_12);
    GUI_DispStringAt("实时监测", 0, 0);
    GUI_DispStringAt("数据曲线", 0, 13);
    GUI_SetColor(GUI_COLOR_BLACK);
    GUI_DispStringAt("无线通信", 0, 26);
    GUI_SetColor(GUI_COLOR_WHITE);
    GUI_DispStringAt("参数设置", 0, 39);
    GUI_DispStringAt("K1︽ K2《 K3》 K4︾", 0, 52);
    GUI_DrawHLine(52, 0, 128);
    GUI_DrawVLine(48, 0, 52);
    switch (page_index) {
        case 1:
            GUI_DispStringAt((char *) hc05.name, 50, 0);
            GUI_DispStringAt(HC05_IsConn() ? "已连接" : "未连接", 50, 16);
            GUI_DispStringAt(g_bUping ? "上传中" : "未上传", 50, 32);
            break;
        case 2:
            sprintf(buf, "发送:%lu", HC05_SendLen);
            GUI_DispStringAt(buf, 50, 16);
            sprintf(buf, "接收:%lu", HC05_RevLen);
            GUI_DispStringAt(buf, 50, 32);
            break;
        default:
            break;
    }
    GUI_Update();
}

void DrawGUI4(void) {
    char buf[20];
    GUI_Clear();
    GUI_SetFont(&GUI_FontHZ_SimSun_12);
    GUI_DispStringAt("实时监测", 0, 0);
    GUI_DispStringAt("数据曲线", 0, 13);
    GUI_DispStringAt("无线通信", 0, 26);
    GUI_SetColor(GUI_COLOR_BLACK);
    GUI_DispStringAt("参数设置", 0, 39);
    GUI_SetColor(GUI_COLOR_WHITE);
    GUI_DispStringAt("K1︽ K2《 K3》 K4︾", 0, 52);
    GUI_DrawHLine(52, 0, 128);
    GUI_DrawVLine(48, 0, 52);

    GUI_DispStringAt("温度上限:", 50, 0);
    GUI_DispStringAt("震动灵敏度:", 50, 13);
    GUI_DispStringAt("报警时长:", 50, 26);
    GUI_DispStringAt("上传间隔:", 50, 39);

    sprintf(buf, "%d", (int) tempLmt);
    if (0 == g_funcidx) {
        GUI_SetColor(GUI_COLOR_BLACK);
    }
    GUI_DispStringAt(buf, 104, 0);
    GUI_SetColor(GUI_COLOR_WHITE);

    sprintf(buf, "%d", g_mpustep);
    if (1 == g_funcidx) {
        GUI_SetColor(GUI_COLOR_BLACK);
    }
    GUI_DispStringAt(buf, 116, 13);
    GUI_SetColor(GUI_COLOR_WHITE);

    sprintf(buf, "%dS", g_warntime);
    if (2 == g_funcidx) {
        GUI_SetColor(GUI_COLOR_BLACK);
    }
    GUI_DispStringAt(buf, 104, 26);
    GUI_SetColor(GUI_COLOR_WHITE);

    sprintf(buf, "%d.%dS", split_float(g_upstep / 1000.0f).integer, split_float(g_upstep / 1000.0f).decimal);
    if (3 == g_funcidx) {
        GUI_SetColor(GUI_COLOR_BLACK);
    }
    GUI_DispStringAt(buf, 104, 39);
    GUI_SetColor(GUI_COLOR_WHITE);

    GUI_Update();
}

/**
 * @brief 浮点数转换成整数部分和小数部分，保留一位小数
 * @param 浮点数
 * @return 返回结构体
 */
struct SplitFloat split_float(float data) {
    struct SplitFloat int_decimal;
    float data1 = fabs(data);
    int_decimal.integer = (int) data1;
    float low = (data1 - int_decimal.integer) * 10;
    int_decimal.decimal = (int) (low + 0.5) > (int) low ? (int) low + 1 : (int) low;
    int_decimal.integer = (data > 0) ? int_decimal.integer : int_decimal.integer * (-1);
    return int_decimal;
}

/**
 * @brief 蜂鸣器使能
 * @param time 鸣叫时间
 * @param tune 声调（7阶）
 */
void Beep(int time, int tune) {
    static uint16_t TAB[] = {494, 523, 588, 660, 698, 784, 880, 988};
    HAL_TIM_Base_Start(&htim3);
    if (tune >= 1 && tune <= 7) {
        int pre = 1000000 / TAB[tune];
        __HAL_TIM_SET_AUTORELOAD(&htim3, pre);
        __HAL_TIM_SET_COMPARE(&htim3, TIM_CHANNEL_1, pre / 2);
        beeptick = osKernelGetTickCount() + time;
        HAL_TIM_PWM_Start(&htim3, TIM_CHANNEL_1);
    }
    while (time-- > 0) {
        HAL_GPIO_TogglePin(BEEP_GPIO_Port, BEEP_Pin);
        osDelay(1);
    }
}

/**
 * @brief:蜂鸣器鸣叫结束
 */
void BeepDone(void) {
    if (beeptick > 0 && osKernelGetTickCount() >= beeptick) {
        beeptick = 0;
        HAL_TIM_PWM_Stop(&htim3, TIM_CHANNEL_1);
    }
}

/**
 * @brief 数码管扫描
 * @param num 4位数组
 * @param dot 小数点位置
 */
void DispSeg(uint8_t num[4], uint8_t dot) {
    for (int i = 0; i < 4; i++) {
        Write595(i, num[i], (dot == (i + 1) ? 1 : 0));
        osDelay(1);
    }
}

void Init_HC05(void) {
    if (HC05_IsOK()) {
        HC05_SetRole(0);
        HC05_GetName();
        printf("HC05 Name:%s\n", hc05.name);
        HC05_AtMode(0);
    }
}

/* USER CODE END Application */

/************************ (C) COPYRIGHT STMicroelectronics *****END OF FILE****/

#pragma clang diagnostic pop
